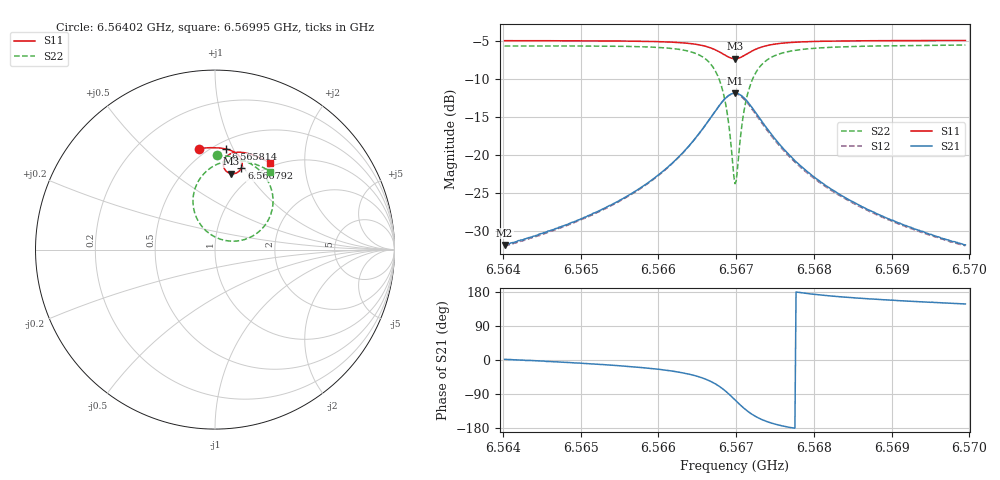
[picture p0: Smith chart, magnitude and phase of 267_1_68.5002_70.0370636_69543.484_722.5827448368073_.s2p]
#  HZ  S  RI  R  50.00
! Rohde & Schwarz Vector Network Analyzer
! Rohde-Schwarz,ZNB20-2Port,1311601062101988,3.16
! Created: UTC 3/20/2024, 5:00:35 PM
! freq[Hz]  re:S11  im:S11  re:S21  im:S21  re:S12  im:S12  re:S22  im:S22
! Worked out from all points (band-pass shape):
!   401 points, 6.56402 GHz to 6.56995 GHz, reference 50 ohm
!   highest |S21| = -11.81 dB at 6.566985 GHz (marker M1); lowest = -31.8 dB at 6.56402 GHz (marker M2)
!   |S21| within 3 dB of the highest: 6.566688 GHz to 6.567281 GHz (593.6 kHz wide, 0.00904 % of centre)
!   lowest |S11| = -7.3 dB at 6.566985 GHz (marker M3), VSWR 2.52, Z = 40.2 + j41.9 ohm
!   |S11| at or under -10 dB: nowhere
!   |S22| runs from -23.7 to -5.5 dB; largest |S21 - S12| = 0.012
!   S11 on the Smith chart (normalised r, x): 6.56402 GHz: 0.45, +0.75; 6.565814 GHz: 0.57, +0.94; 6.566792 GHz: 0.83, +0.97; 6.56995 GHz: 0.94, +1.35
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6.5640201e9  -0.0883 0.5621  0.0256 0.000791  0.0252 0.00039  0.00987 0.5247
6.5650134e9  -0.00851 0.568  0.0379 -0.00574  0.0373 -0.00632  0.0999 0.5153
6.5658139e9  0.063 0.5601  0.0592 -0.0222  0.0582 -0.0228  0.1937 0.4812
6.5660066e9  0.0822 0.5546  0.068 -0.0311  0.0669 -0.032  0.2227 0.4629
6.5663179e9  0.1161 0.5382  0.0864 -0.0585  0.0851 -0.06  0.278 0.4081
6.5665403e9  0.141 0.5131  0.0998 -0.1021  0.0978 -0.1041  0.3171 0.3243
6.5666886e9  0.1515 0.4831  0.0962 -0.1545  0.0925 -0.1571  0.3186 0.2242
6.5667923e9  0.1468 0.4544  0.0705 -0.2037  0.0644 -0.2063  0.2754 0.1316
6.5668813e9  0.1272 0.4311  0.0201 -0.2417  0.0108 -0.2422  0.1838 0.063
6.5669554e9  0.0997 0.4225  -0.0416 -0.252  -0.052 -0.2487  0.0736 0.0482
6.5669851e9  0.0877 0.4236  -0.0677 -0.2476  -0.0779 -0.2425  0.0282 0.0586
6.5670147e9  0.0762 0.4276  -0.0925 -0.2381  -0.1016 -0.2312  -0.0139 0.078
6.567074e9  0.0578 0.4422  -0.1324 -0.2072  -0.1389 -0.1979  -0.0791 0.1373
6.5671185e9  0.0497 0.4565  -0.1519 -0.1781  -0.1561 -0.1683  -0.108 0.1901
6.5671778e9  0.0461 0.4762  -0.1643 -0.1392  -0.1654 -0.1299  -0.1224 0.259
6.5672667e9  0.0518 0.5008  -0.1627 -0.0906  -0.1614 -0.0831  -0.1102 0.3431
6.5673853e9  0.0685 0.5223  -0.1454 -0.048  -0.1428 -0.0429  -0.0691 0.4145
6.5675336e9  0.0913 0.5357  -0.1208 -0.0192  -0.1181 -0.0159  -0.015 0.4612
6.5679783e9  0.1477 0.542  -0.073 0.00784  -0.0714 0.00907  0.0987 0.4962
6.5684231e9  0.1909 0.5339  -0.0502 0.013  -0.0492 0.0136  0.1674 0.4918
6.5689716e9  0.236 0.5182  -0.0353 0.0142  -0.0346 0.0144  0.2277 0.475
6.56995e9  0.3063 0.4818  -0.0218 0.0137  -0.0213 0.0137  0.3081 0.4348
